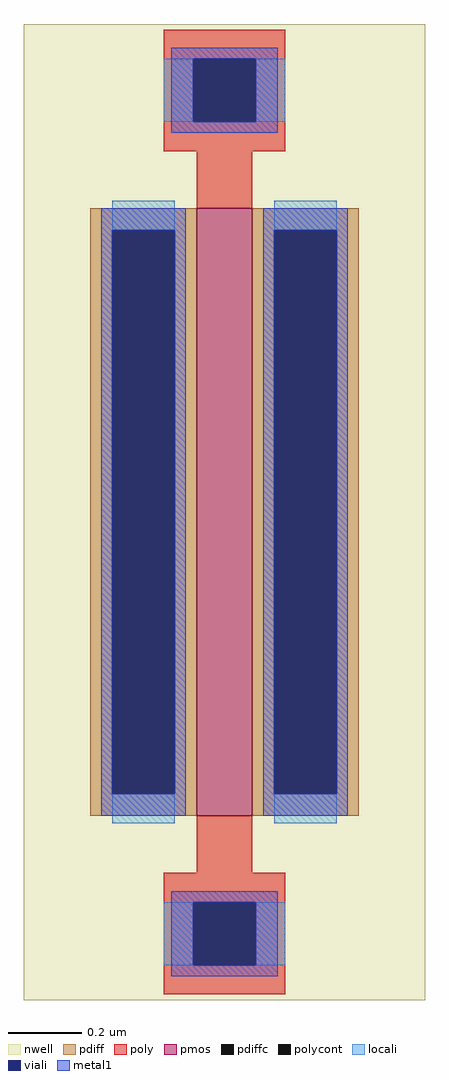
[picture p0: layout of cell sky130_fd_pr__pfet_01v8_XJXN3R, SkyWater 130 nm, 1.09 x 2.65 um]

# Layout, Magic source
magic
tech sky130A
magscale 1 2
<< nwell >>
rect -109 -265 109 265
<< pmos >>
rect -15 -165 15 165
<< pdiff >>
rect -73 153 -15 165
rect -73 -153 -61 153
rect -27 -153 -15 153
rect -73 -165 -15 -153
rect 15 153 73 165
rect 15 -153 27 153
rect 61 -153 73 153
rect 15 -165 73 -153
<< pdiffc >>
rect -61 -153 -27 153
rect 27 -153 61 153
<< poly >>
rect -33 246 33 262
rect -33 212 -17 246
rect 17 212 33 246
rect -33 196 33 212
rect -15 165 15 196
rect -15 -196 15 -165
rect -33 -212 33 -196
rect -33 -246 -17 -212
rect 17 -246 33 -212
rect -33 -262 33 -246
<< polycont >>
rect -17 212 17 246
rect -17 -246 17 -212
<< locali >>
rect -33 212 -17 246
rect 17 212 33 246
rect -61 153 -27 169
rect -61 -169 -27 -153
rect 27 153 61 169
rect 27 -169 61 -153
rect -33 -246 -17 -212
rect 17 -246 33 -212
<< viali >>
rect -17 212 17 246
rect -61 -153 -27 153
rect 27 -153 61 153
rect -17 -246 17 -212
<< metal1 >>
rect -29 246 29 252
rect -29 212 -17 246
rect 17 212 29 246
rect -29 206 29 212
rect -67 153 -21 165
rect -67 -153 -61 153
rect -27 -153 -21 153
rect -67 -165 -21 -153
rect 21 153 67 165
rect 21 -153 27 153
rect 61 -153 67 153
rect 21 -165 67 -153
rect -29 -212 29 -206
rect -29 -246 -17 -212
rect 17 -246 29 -212
rect -29 -252 29 -246
<< properties >>
string gencell sky130_fd_pr__pfet_01v8
string library sky130
string parameters w 1.65 l 0.15 m 1 nf 1 diffcov 100 polycov 100 guard 0 glc 1 grc 1 gtc 1 gbc 1 tbcov 100 rlcov 100 topc 1 botc 1 poverlap 0 doverlap 1 lmin 0.15 wmin 0.42 compatible {sky130_fd_pr__pfet_01v8  sky130_fd_pr__pfet_01v8_lvt sky130_fd_pr__pfet_01v8_hvt  sky130_fd_pr__pfet_g5v0d10v5} full_metal 0 viasrc 100 viadrn 100 viagate 100 viagb 0 viagr 0 viagl 0 viagt 0
<< end >>
